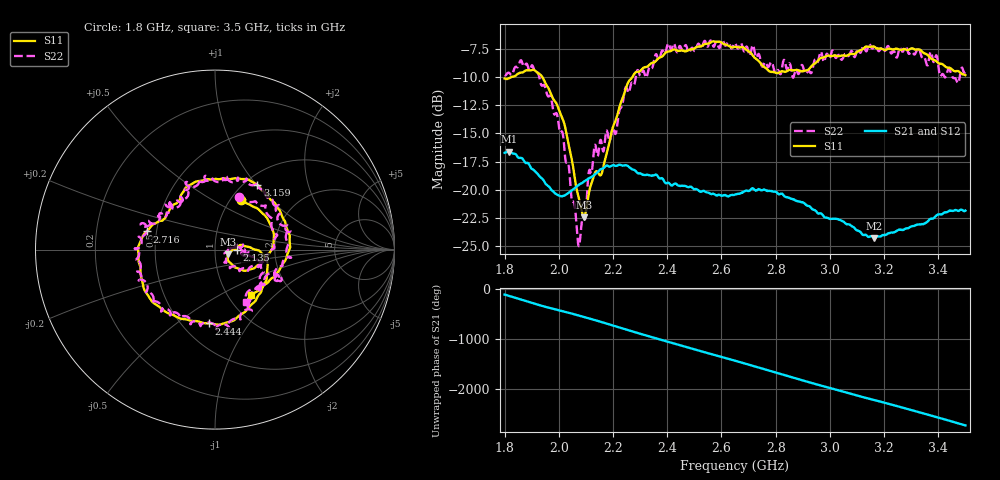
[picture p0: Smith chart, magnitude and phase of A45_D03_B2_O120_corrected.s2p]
! Created with skrf 1.9.0 (http://scikit-rf.org).
# Hz S RI R 50.0
!freq ReS11 ImS11 ReS21 ImS21 ReS12 ImS12 ReS22 ImS22
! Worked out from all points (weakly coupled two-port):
!   1601 points, 1.8 GHz to 3.5 GHz, reference 50 ohm
!   highest |S21| = -16.62 dB at 1.817 GHz (marker M1); lowest = -24.3 dB at 3.164 GHz (marker M2)
!   lowest |S11| = -22.4 dB at 2.092 GHz (marker M3), VSWR 1.16, Z = 57.5 - j3.1 ohm
!   |S11| at or under -10 dB: start of sweep to 1.826 GHz; 1.939 GHz to 2.272 GHz (332.7 MHz wide, 15.8 % of centre)
!   |S22| runs from -25.0 to -6.8 dB; largest |S21 - S12| = 0.0025
!   S11 on the Smith chart (normalised r, x): 1.8 GHz: 1.12, +0.68; 2.135 GHz: 1.27, -0.00; 2.444 GHz: 0.67, -0.66; 2.716 GHz: 0.44, +0.11; 3.159 GHz: 1.14, +1.01; 3.5 GHz: 1.27, -0.72
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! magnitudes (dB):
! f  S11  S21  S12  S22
! 1.8 GHz  -10.1  -16.7  -16.7  -9.8
! 1.817 GHz  -10.1  -16.6  -16.6  -9.6
! 1.903 GHz  -9.4  -18.2  -18.2  -9.0
! 1.968 GHz  -11.3  -19.8  -19.9  -11.7
! 2.014 GHz  -13.7  -20.5  -20.6  -14.9
! 2.071 GHz  -20.4  -19.6  -19.6  -24.7
! 2.084 GHz  -21.8  -19.4  -19.4  -23.0
! 2.092 GHz  -22.4  -19.3  -19.3  -22.4
! 2.135 GHz  -18.4  -18.6  -18.6  -16.0
! 2.159 GHz  -18.5  -18.1  -18.1  -16.0
! 2.209 GHz  -13.9  -17.9  -17.8  -15.0
! 2.257 GHz  -10.4  -17.9  -17.9  -11.4
! 2.367 GHz  -8.3  -18.9  -18.8  -8.5
! 2.444 GHz  -7.7  -19.6  -19.6  -7.3
! 2.65 GHz  -7.3  -20.4  -20.4  -7.0
! 2.716 GHz  -8.1  -19.9  -19.8  -7.2
! 2.803 GHz  -9.6  -20.2  -20.2  -9.5
! 2.934 GHz  -9.0  -21.7  -21.6  -9.5
! 3.159 GHz  -7.3  -24.2  -24.1  -7.4
! 3.164 GHz  -7.3  -24.3  -24.2  -7.2
! 3.217 GHz  -7.5  -23.8  -23.8  -7.4
! 3.5 GHz  -9.8  -21.8  -21.8  -9.5
